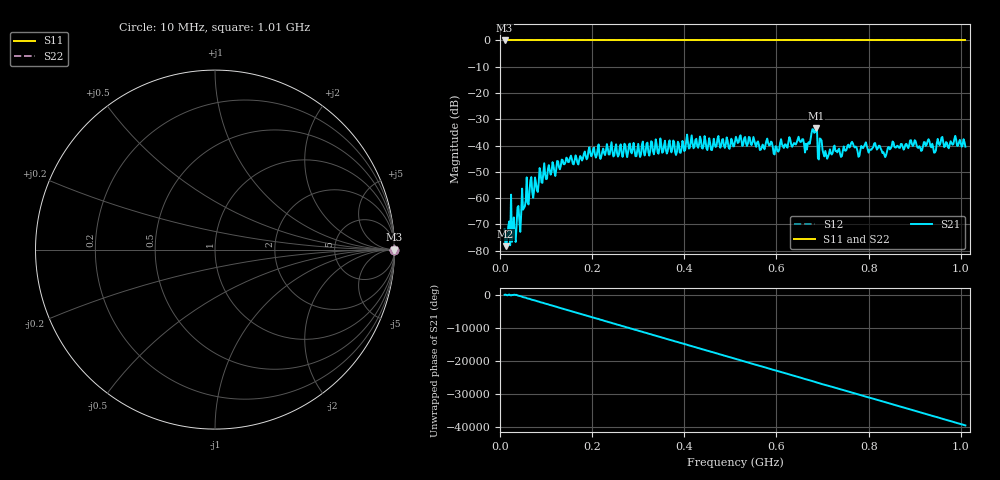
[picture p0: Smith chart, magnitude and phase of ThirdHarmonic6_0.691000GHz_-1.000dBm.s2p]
! 8/15/2025 11:05:09 PM
! C:\ANRITSUVNA\TEMP\TEMP.S2P
! CHANNEL.1
! TR.MEASUREMENT
! RAW.DATA
! RF.CORRECTION.OFF
! AVERAGING.OFF
! IF.BANDWIDTH: 5KHZ
! SWEEPTYPE:  FREQ.SWEEP(Linear)
! Reference Plane Port Info
! PORT:  PORT1  PORT2
! DISTANCE:  0  m  0  m
! TIME:  0  s  0  s
! PHASE.OFFSET:  0  deg.  0  deg.
! LOSS:  0  dB  0  dB
! REF.LOSS:  0  dB  0  dB
! REF.FREQ:  0  Hz  0  Hz
! Power Info
! POWER:  -20  dBm  -20  dBm
! EFF.POWER:  -20  dBm  -20  dBm
! SOURCE.ATTEN:  0  dB  0  dB
! TEST.ATTEN:  0  dB  0  dB
# GHZ S RI R 50.0
! FREQ.GHZ  S11RE  S11IM  S21RE  S21IM  S12RE  S12IM  S22RE  S22IM
!; PortSelection: Port_12
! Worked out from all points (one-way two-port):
!   501 points, 10 MHz to 1.01 GHz, reference 50 ohm
!   highest |S21| = -33.51 dB at 686 MHz (marker M1); lowest = -78.3 dB at 12 MHz (marker M2)
!   lowest |S11| = 0.0 dB at 10 MHz (marker M3)
!   |S11| at or under -10 dB: nowhere
!   |S22| runs from 0.0 to 0.0 dB; largest |S21 - S12| = 1
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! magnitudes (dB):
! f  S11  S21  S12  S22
! 10 MHz  0.0  -72.0  0.0  0.0
! 12 MHz  0.0  -78.3  0.0  0.0
! 18 MHz  0.0  -70.8  0.0  0.0
! 20 MHz  0.0  -68.9  0.0  0.0
! 28 MHz  0.0  -72.8  0.0  0.0
! 30 MHz  0.0  -67.4  0.0  0.0
! 62 MHz  0.0  -62.4  0.0  0.0
! 90 MHz  0.0  -54.0  0.0  0.0
! 178 MHz  0.0  -45.7  0.0  0.0
! 344 MHz  0.0  -43.1  0.0  0.0
! 510 MHz  0.0  -38.4  0.0  0.0
! 584 MHz  0.0  -39.9  0.0  0.0
! 598 MHz  0.0  -40.3  0.0  0.0
! 652 MHz  0.0  -38.7  0.0  0.0
! 664 MHz  0.0  -39.3  0.0  0.0
! 678 MHz  0.0  -33.8  0.0  0.0
! 686 MHz  0.0  -33.5  0.0  0.0
! 708 MHz  0.0  -43.5  0.0  0.0
! 764 MHz  0.0  -38.6  0.0  0.0
! 778 MHz  0.0  -44.3  0.0  0.0
! 844 MHz  0.0  -40.6  0.0  0.0
! 1.01 GHz  0.0  -40.4  0.0  0.0
